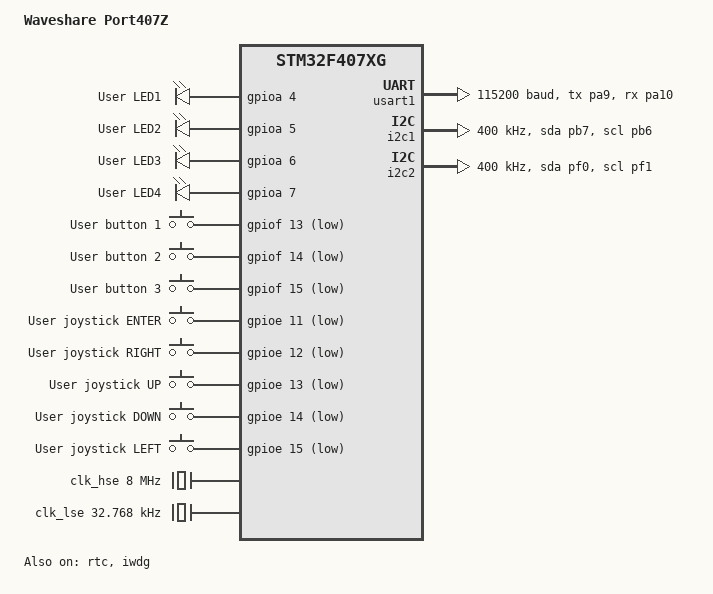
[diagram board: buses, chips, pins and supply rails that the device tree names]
/*
 * Copyright (c) 2025 Waveshare
 *
 * SPDX-License-Identifier: Apache-2.0
 */

/dts-v1/;
#include <st/f4/stm32f407Xg.dtsi>
#include <st/f4/stm32f407z(e-g)tx-pinctrl.dtsi>
#include <zephyr/dt-bindings/input/input-event-codes.h>

/ {
	model = "Waveshare Port407Z";
	compatible = "waveshare,port407z";

	chosen {
		zephyr,console = &usart1;
		zephyr,shell-uart = &usart1;
		zephyr,sram = &sram0;
		zephyr,flash = &flash0;
	};

	leds {
		compatible = "gpio-leds";

		led_1: led_1 {
			gpios = <&gpioa 4 GPIO_ACTIVE_HIGH>;
			label = "User LED1";
		};

		led_2: led_2 {
			gpios = <&gpioa 5 GPIO_ACTIVE_HIGH>;
			label = "User LED2";
		};

		led_3: led_3 {
			gpios = <&gpioa 6 GPIO_ACTIVE_HIGH>;
			label = "User LED3";
		};

		led_4: led_4 {
			gpios = <&gpioa 7 GPIO_ACTIVE_HIGH>;
			label = "User LED4";
		};
	};

	gpio_keys {
		compatible = "gpio-keys";

		button_1: button_1 {
			label = "User button 1";
			gpios = <&gpiof 13 (GPIO_PULL_UP | GPIO_ACTIVE_LOW)>;
			zephyr,code = <INPUT_KEY_0>;
		};

		button_2: button_2 {
			label = "User button 2";
			gpios = <&gpiof 14 (GPIO_PULL_UP | GPIO_ACTIVE_LOW)>;
			zephyr,code = <INPUT_KEY_1>;
		};

		button_3: button_3 {
			label = "User button 3";
			gpios = <&gpiof 15 (GPIO_PULL_UP | GPIO_ACTIVE_LOW)>;
			zephyr,code = <INPUT_KEY_2>;
		};

		joystick_enter: joystick_enter {
			label = "User joystick ENTER";
			gpios = <&gpioe 11 (GPIO_PULL_UP | GPIO_ACTIVE_LOW)>;
			zephyr,code = <INPUT_KEY_ENTER>;
		};

		joystick_right: joystick_right {
			label = "User joystick RIGHT";
			gpios = <&gpioe 12 (GPIO_PULL_UP | GPIO_ACTIVE_LOW)>;
			zephyr,code = <INPUT_KEY_RIGHT>;
		};

		joystick_up: joystick_up {
			label = "User joystick UP";
			gpios = <&gpioe 13 (GPIO_PULL_UP | GPIO_ACTIVE_LOW)>;
			zephyr,code = <INPUT_KEY_UP>;
		};

		joystick_down: joystick_down {
			label = "User joystick DOWN";
			gpios = <&gpioe 14 (GPIO_PULL_UP | GPIO_ACTIVE_LOW)>;
			zephyr,code = <INPUT_KEY_DOWN>;
		};

		joystick_left: joystick_left {
			label = "User joystick LEFT";
			gpios = <&gpioe 15 (GPIO_PULL_UP | GPIO_ACTIVE_LOW)>;
			zephyr,code = <INPUT_KEY_LEFT>;
		};
	};

	aliases {
		led0 = &led_1;
		led1 = &led_2;
		led2 = &led_3;
		led3 = &led_4;
		sw0 = &button_1;
		sw1 = &button_2;
		sw2 = &button_3;
		watchdog0 = &iwdg;
	};
};

&clk_hse {
	clock-frequency = <DT_FREQ_M(8)>;
	status = "okay";
};

&clk_lse {
	clock-frequency = <32768>;
	status = "okay";
};

&pll {
	div-m = <4>;
	mul-n = <168>;
	div-p = <2>;
	div-q = <7>;
	clocks = <&clk_hse>;
	status = "okay";
};

&rcc {
	clocks = <&pll>;
	clock-frequency = <DT_FREQ_M(168)>;
	ahb-prescaler = <1>;
	apb1-prescaler = <4>;
	apb2-prescaler = <2>;
};

&rtc {
	clocks = <&rcc STM32_CLOCK(APB1, 10)>,
		 <&rcc STM32_SRC_LSE RTC_SEL(1)>;
	status = "okay";
};

&usart1 {
	pinctrl-0 = <&usart1_tx_pa9 &usart1_rx_pa10>;
	pinctrl-names = "default";
	current-speed = <115200>;
	status = "okay";
};

&i2c1 {
	pinctrl-0 = <&i2c1_sda_pb7 &i2c1_scl_pb6>;
	pinctrl-names = "default";
	status = "okay";
	clock-frequency = <I2C_BITRATE_FAST>;
};

&i2c2 {
	pinctrl-0 = <&i2c2_sda_pf0 &i2c2_scl_pf1>;
	pinctrl-names = "default";
	status = "okay";
	clock-frequency = <I2C_BITRATE_FAST>;
};

&iwdg {
	status = "okay";
};
